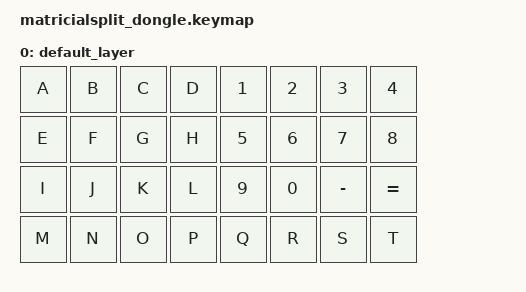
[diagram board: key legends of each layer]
/*
 * Keymap de debug - cada tecla produce un carácter único
 * para identificar exactamente qué está siendo detectado
 */

#include <behaviors.dtsi>
#include <dt-bindings/zmk/keys.h>

/ {
    keymap {
        compatible = "zmk,keymap";

        default_layer {
            bindings = <
            // IZQUIERDA (L0-L15)              DERECHA (R0-R15)
                &kp A     &kp B     &kp C     &kp D      &kp N1    &kp N2    &kp N3    &kp N4
                &kp E     &kp F     &kp G     &kp H      &kp N5    &kp N6    &kp N7    &kp N8
                &kp I     &kp J     &kp K     &kp L      &kp N9    &kp N0    &kp MINUS &kp EQUAL
                &kp M     &kp N     &kp O     &kp P      &kp Q     &kp R     &kp S     &kp T
            >;
        };
    };
};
